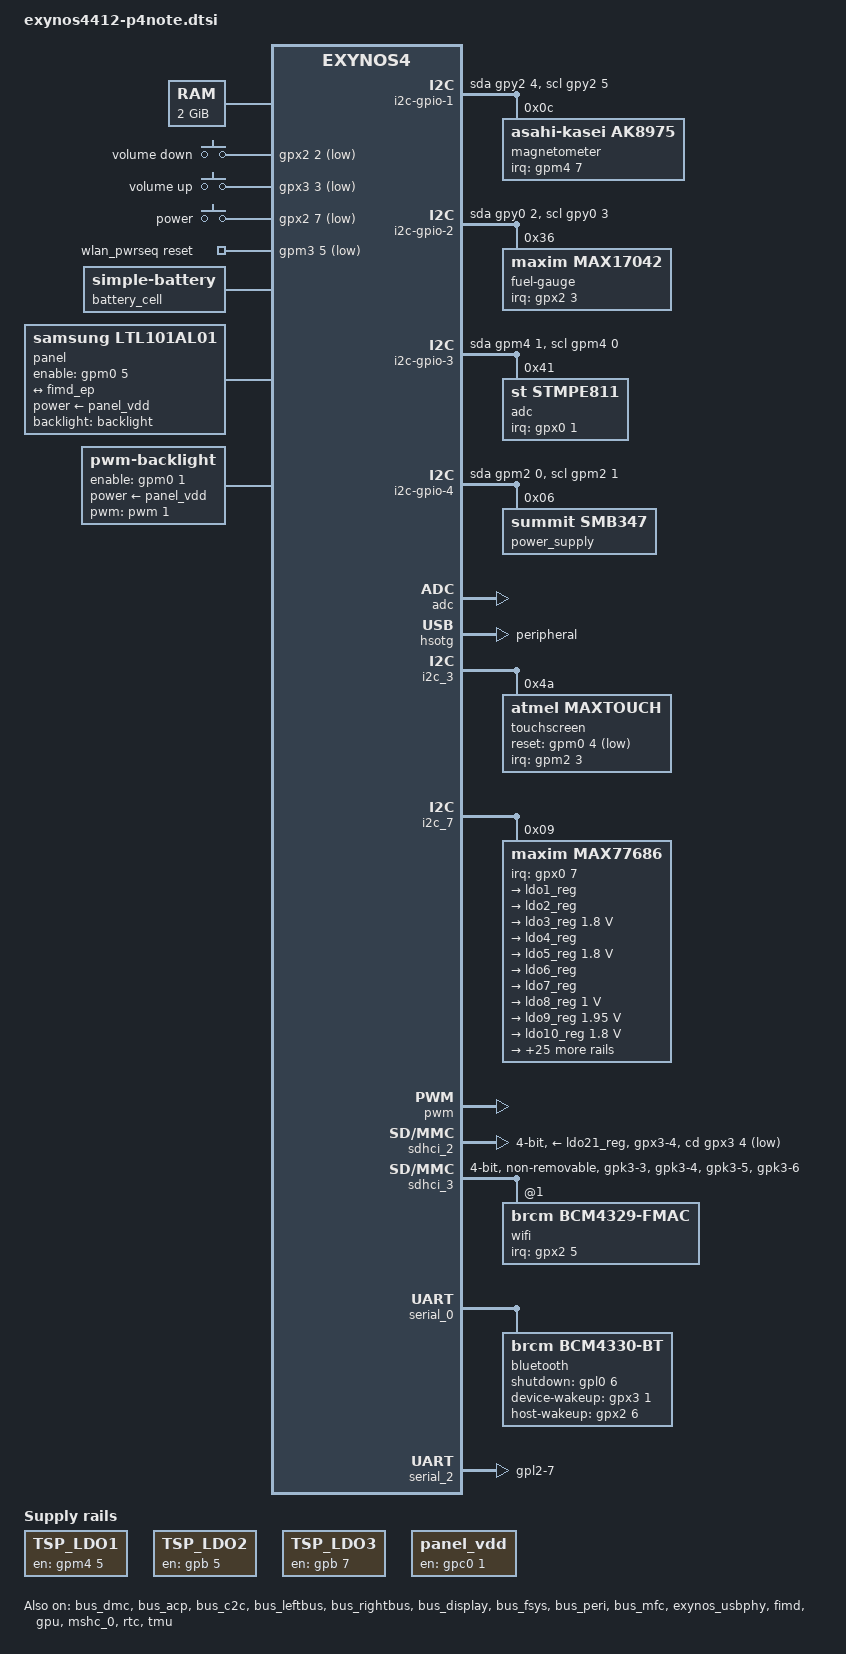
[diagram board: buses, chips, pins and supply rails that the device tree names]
// SPDX-License-Identifier: GPL-2.0
/*
 * Samsung's Exynos4412 based p4note device family base DT.
 * Based on exynos4412-midas.dtsi.
 *
 * Copyright (c) 2013 Samsung Electronics Co., Ltd.
 *		http://www.samsung.com
 */

/dts-v1/;
#include "exynos4412.dtsi"
#include "exynos4412-ppmu-common.dtsi"

#include <dt-bindings/clock/maxim,max77686.h>
#include <dt-bindings/gpio/gpio.h>
#include <dt-bindings/input/linux-event-codes.h>
#include <dt-bindings/interrupt-controller/irq.h>
#include <dt-bindings/power/summit,smb347-charger.h>
#include "exynos-pinctrl.h"

/ {
	compatible = "samsung,p4note", "samsung,exynos4412", "samsung,exynos4";

	memory@40000000 {
		device_type = "memory";
		reg = <0x40000000 0x80000000>;
	};

	chosen {
		stdout-path = &serial_2;
	};

	firmware@204f000 {
		compatible = "samsung,secure-firmware";
		reg = <0x0204f000 0x1000>;
	};

	fixed-rate-clocks {
		xxti {
			compatible = "samsung,clock-xxti";
			clock-frequency = <0>;
		};

		xusbxti {
			compatible = "samsung,clock-xusbxti";
			clock-frequency = <24000000>;
		};
	};

	gpio-keys {
		compatible = "gpio-keys";
		pinctrl-names = "default";
		pinctrl-0 = <&gpio_keys>;

		key-down {
			gpios = <&gpx2 2 GPIO_ACTIVE_LOW>;
			linux,code = <KEY_VOLUMEDOWN>;
			label = "volume down";
			debounce-interval = <10>;
		};

		key-up {
			gpios = <&gpx3 3 GPIO_ACTIVE_LOW>;
			linux,code = <KEY_VOLUMEUP>;
			label = "volume up";
			debounce-interval = <10>;
		};

		key-power {
			gpios = <&gpx2 7 GPIO_ACTIVE_LOW>;
			linux,code = <KEY_POWER>;
			label = "power";
			debounce-interval = <10>;
			wakeup-source;
		};
	};

	voltage-regulator-1 {
		compatible = "regulator-fixed";
		regulator-name = "TSP_LDO1";
		pinctrl-names = "default";
		pinctrl-0 = <&tsp_reg_gpio_1>;
		gpios = <&gpm4 5 GPIO_ACTIVE_HIGH>;
		enable-active-high;
		regulator-always-on;
	};

	voltage-regulator-2 {
		compatible = "regulator-fixed";
		regulator-name = "TSP_LDO2";
		pinctrl-names = "default";
		pinctrl-0 = <&tsp_reg_gpio_2>;
		gpios = <&gpb 5 GPIO_ACTIVE_HIGH>;
		enable-active-high;
		regulator-always-on;
	};

	voltage-regulator-3 {
		compatible = "regulator-fixed";
		regulator-name = "TSP_LDO3";
		pinctrl-names = "default";
		pinctrl-0 = <&tsp_reg_gpio_3>;
		gpios = <&gpb 7 GPIO_ACTIVE_HIGH>;
		startup-delay-us = <20000>;
		enable-active-high;
		regulator-always-on;
	};

	panel_vdd: voltage-regulator-4 {
		compatible = "regulator-fixed";
		regulator-name = "LCD_ENABLE";
		pinctrl-names = "default";
		pinctrl-0 = <&lcd_enable>;
		gpios = <&gpc0 1 GPIO_ACTIVE_HIGH>;
		enable-active-high;
		regulator-boot-on;
	};

	wlan_pwrseq: sdhci3-pwrseq {
		compatible = "mmc-pwrseq-simple";
		reset-gpios = <&gpm3 5 GPIO_ACTIVE_LOW>;
		pinctrl-0 = <&wifi_reset>;
		pinctrl-names = "default";
		clocks = <&max77686 MAX77686_CLK_PMIC>;
		clock-names = "ext_clock";
	};

	battery_cell: battery-cell {
		compatible = "simple-battery";
		device-chemistry = "lithium-ion";
		constant-charge-current-max-microamp = <2200000>;
		precharge-current-microamp = <250000>;
		charge-term-current-microamp = <250000>;
		constant-charge-voltage-max-microvolt = <4200000>;
	};

	i2c-gpio-1 {
		compatible = "i2c-gpio";
		sda-gpios = <&gpy2 4 (GPIO_ACTIVE_HIGH | GPIO_OPEN_DRAIN)>;
		scl-gpios = <&gpy2 5 (GPIO_ACTIVE_HIGH | GPIO_OPEN_DRAIN)>;
		i2c-gpio,delay-us = <2>;
		#address-cells = <1>;
		#size-cells = <0>;

		magnetometer@c {
			compatible = "asahi-kasei,ak8975";
			reg = <0x0c>;
			pinctrl-0 = <&ak8975_irq>;
			pinctrl-names = "default";
			interrupt-parent = <&gpm4>;
			interrupts = <7 IRQ_TYPE_EDGE_RISING>;
		};
	};

	i2c-gpio-2 {
		compatible = "i2c-gpio";
		sda-gpios = <&gpy0 2 (GPIO_ACTIVE_HIGH | GPIO_OPEN_DRAIN)>;
		scl-gpios = <&gpy0 3 (GPIO_ACTIVE_HIGH | GPIO_OPEN_DRAIN)>;
		i2c-gpio,delay-us = <2>;
		#address-cells = <1>;
		#size-cells = <0>;

		fuel-gauge@36 {
			compatible = "maxim,max17042";
			reg = <0x36>;
			pinctrl-0 = <&fuel_alert_irq>;
			pinctrl-names = "default";
			interrupt-parent = <&gpx2>;
			interrupts = <3 IRQ_TYPE_LEVEL_LOW>;
			maxim,rsns-microohm = <10000>;
			maxim,over-heat-temp = <600>;
			maxim,over-volt = <4300>;
		};
	};

	i2c-gpio-3 {
		compatible = "i2c-gpio";
		sda-gpios = <&gpm4 1 (GPIO_ACTIVE_HIGH | GPIO_OPEN_DRAIN)>;
		scl-gpios = <&gpm4 0 (GPIO_ACTIVE_HIGH | GPIO_OPEN_DRAIN)>;
		i2c-gpio,delay-us = <5>;
		#address-cells = <1>;
		#size-cells = <0>;

		adc@41 {
			compatible = "st,stmpe811";
			reg = <0x41>;
			pinctrl-0 = <&stmpe_adc_irq>;
			pinctrl-names = "default";
			interrupt-parent = <&gpx0>;
			interrupts = <1 IRQ_TYPE_LEVEL_LOW>;
			interrupt-controller;
			irq-trigger = <0x1>;
			st,adc-freq = <3>;
			st,mod-12b = <1>;
			st,ref-sel = <0>;
			st,sample-time = <3>;

			stmpe_adc {
				compatible = "st,stmpe-adc";
				#io-channel-cells = <1>;
				st,norequest-mask = <0x2f>;
			};
		};
	};

	i2c-gpio-4 {
		compatible = "i2c-gpio";
		sda-gpios = <&gpm2 0 (GPIO_ACTIVE_HIGH | GPIO_OPEN_DRAIN)>;
		scl-gpios = <&gpm2 1 (GPIO_ACTIVE_HIGH | GPIO_OPEN_DRAIN)>;

		i2c-gpio,delay-us = <2>;
		#address-cells = <1>;
		#size-cells = <0>;

		power_supply: charger@6 {
			compatible = "summit,smb347";
			reg = <0x6>;
			summit,enable-usb-charging;
			summit,enable-charge-control = <SMB3XX_CHG_ENABLE_SW>;
			summit,fast-voltage-threshold-microvolt = <2600000>;
			summit,chip-temperature-threshold-celsius = <130>;
			summit,usb-current-limit-microamp = <1800000>;

			monitored-battery = <&battery_cell>;
		};
	};

	panel {
		compatible = "samsung,ltl101al01";
		pinctrl-0 = <&lvds_nshdn>;
		pinctrl-names = "default";
		power-supply = <&panel_vdd>;
		enable-gpios = <&gpm0 5 GPIO_ACTIVE_HIGH>;
		backlight = <&backlight>;

		port {
			lcd_ep: endpoint {
				remote-endpoint = <&fimd_ep>;
			};
		};
	};

	backlight: backlight {
		compatible = "pwm-backlight";
		pinctrl-0 = <&led_bl_reset>;
		pinctrl-names = "default";
		enable-gpios = <&gpm0 1 GPIO_ACTIVE_HIGH>;
		power-supply = <&panel_vdd>;
		pwms = <&pwm 1 78770 0>;
		brightness-levels = <0 48 128 255>;
		num-interpolated-steps = <8>;
		default-brightness-level = <12>;
	};
};

&adc {
	vdd-supply = <&ldo3_reg>;
	/* not verified */
	status = "okay";
};

&bus_dmc {
	devfreq-events = <&ppmu_dmc0_3>, <&ppmu_dmc1_3>;
	vdd-supply = <&buck1_reg>;
	status = "okay";
};

&bus_acp {
	devfreq = <&bus_dmc>;
	status = "okay";
};

&bus_c2c {
	devfreq = <&bus_dmc>;
	status = "okay";
};

&bus_leftbus {
	devfreq-events = <&ppmu_leftbus_3>, <&ppmu_rightbus_3>;
	vdd-supply = <&buck3_reg>;
	status = "okay";
};

&bus_rightbus {
	devfreq = <&bus_leftbus>;
	status = "okay";
};

&bus_display {
	devfreq = <&bus_leftbus>;
	status = "okay";
};

&bus_fsys {
	devfreq = <&bus_leftbus>;
	status = "okay";
};

&bus_peri {
	devfreq = <&bus_leftbus>;
	status = "okay";
};

&bus_mfc {
	devfreq = <&bus_leftbus>;
	status = "okay";
};

&cpu0 {
	cpu0-supply = <&buck2_reg>;
};

&cpu_thermal {
	cooling-maps {
		map0 {
			/* Corresponds to 800MHz at freq_table */
			cooling-device = <&cpu0 7 7>, <&cpu1 7 7>,
					 <&cpu2 7 7>, <&cpu3 7 7>;
		};
		map1 {
			/* Corresponds to 200MHz at freq_table */
			cooling-device = <&cpu0 13 13>, <&cpu1 13 13>,
					 <&cpu2 13 13>, <&cpu3 13 13>;
		};
	};
};

&exynos_usbphy {
	status = "okay";
};

&fimd {
	pinctrl-0 = <&lcd_clk &lcd_data24>;
	pinctrl-names = "default";
	#address-cells = <1>;
	#size-cells = <0>;
	status = "okay";

	samsung,invert-vclk;

	port@3 {
		reg = <3>;

		fimd_ep: endpoint {
			remote-endpoint = <&lcd_ep>;
		};
	};
};

&gpu {
	mali-supply = <&buck4_reg>;
	status = "okay";
};

&hsotg {
	vusb_a-supply = <&ldo12_reg>;
	dr_mode = "peripheral";
	status = "okay";
};

&i2c_3 {
	samsung,i2c-sda-delay = <100>;
	samsung,i2c-slave-addr = <0x10>;
	samsung,i2c-max-bus-freq = <400000>;
	pinctrl-0 = <&i2c3_bus>;
	pinctrl-names = "default";
	status = "okay";

	touchscreen@4a {
		compatible = "atmel,maxtouch";
		reg = <0x4a>;
		pinctrl-0 = <&tsp_rst &tsp_irq>;
		pinctrl-names = "default";
		interrupt-parent = <&gpm2>;
		interrupts = <3 IRQ_TYPE_LEVEL_LOW>;
		reset-gpios = <&gpm0 4 GPIO_ACTIVE_LOW>;
	};
};

&i2c_7 {
	samsung,i2c-sda-delay = <100>;
	samsung,i2c-slave-addr = <0x10>;
	samsung,i2c-max-bus-freq = <400000>;
	pinctrl-0 = <&i2c7_bus>;
	pinctrl-names = "default";
	status = "okay";

	max77686: pmic@9 {
		compatible = "maxim,max77686";
		interrupt-parent = <&gpx0>;
		interrupts = <7 IRQ_TYPE_LEVEL_LOW>;
		pinctrl-0 = <&max77686_irq>;
		pinctrl-names = "default";
		wakeup-source;
		reg = <0x09>;
		#clock-cells = <1>;

		voltage-regulators {
			ldo1_reg: LDO1 {
				regulator-name = "ldo1";
				regulator-always-on;
			};

			ldo2_reg: LDO2 {
				regulator-name = "ldo2";
				regulator-always-on;
			};

			/* WM8994 audio */
			ldo3_reg: LDO3 {
				regulator-name = "VCC_1.8V_AP";
				regulator-min-microvolt = <1800000>;
				regulator-max-microvolt = <1800000>;
				regulator-always-on;
				regulator-boot-on;

				regulator-state-mem {
					regulator-on-in-suspend;
				};
			};

			ldo4_reg: LDO4 {
				regulator-name = "ldo4";
				regulator-always-on;
			};

			ldo5_reg: LDO5 {
				regulator-name = "VCC_1.8V_IO";
				regulator-min-microvolt = <1800000>;
				regulator-max-microvolt = <1800000>;

				regulator-state-mem {
					regulator-off-in-suspend;
				};
			};

			ldo6_reg: LDO6 {
				regulator-name = "ldo6";
				regulator-always-on;
			};

			ldo7_reg: LDO7 {
				regulator-name = "ldo7";
				regulator-always-on;
			};

			/* CSI IP block */
			ldo8_reg: LDO8 {
				regulator-name = "VMIPI_1.0V";
				regulator-min-microvolt = <1000000>;
				regulator-max-microvolt = <1000000>;
				regulator-always-on;
				regulator-boot-on;

				regulator-state-mem {
					regulator-on-in-suspend;
				};
			};

			/* IR LED on/off */
			ldo9_reg: LDO9 {
				regulator-name = "VLED_IC_1.9V";
				regulator-min-microvolt = <1950000>;
				regulator-max-microvolt = <1950000>;

				regulator-state-mem {
					regulator-off-in-suspend;
				};
			};

			/* CSI IP block */
			ldo10_reg: LDO10 {
				regulator-name = "VMIPI_1.8V";
				regulator-min-microvolt = <1800000>;
				regulator-max-microvolt = <1800000>;
				regulator-always-on;
				regulator-boot-on;

				regulator-state-mem {
					regulator-on-in-suspend;
				};
			};

			ldo11_reg: LDO11 {
				regulator-name = "VABB1_1.9V";
				regulator-min-microvolt = <1950000>;
				regulator-max-microvolt = <1950000>;
				regulator-always-on;
				regulator-boot-on;

				regulator-state-mem {
					regulator-off-in-suspend;
				};
			};

			/* USB OTG */
			ldo12_reg: LDO12 {
				regulator-name = "VUOTG_3.0V";
				regulator-min-microvolt = <3000000>;
				regulator-max-microvolt = <3000000>;
				regulator-always-on;
				regulator-boot-on;

				regulator-state-mem {
					regulator-on-in-suspend;
				};
			};

			/* not connected */
			ldo13_reg: LDO13 {
				regulator-name = "ldo13";
			};

			ldo14_reg: LDO14 {
				regulator-name = "VABB2_1.9V";
				regulator-min-microvolt = <1950000>;
				regulator-max-microvolt = <1950000>;
				regulator-always-on;
				regulator-boot-on;

				regulator-state-mem {
					regulator-off-in-suspend;
				};
			};

			ldo15_reg: LDO15 {
				regulator-name = "ldo15";
				regulator-always-on;
			};

			ldo16_reg: LDO16 {
				regulator-name = "ldo16";
				regulator-always-on;
			};

			/* not connected */
			ldo17_reg: LDO17 {
				regulator-name = "ldo17";
			};

			/* Camera ISX012 */
			ldo18_reg: LDO18 {
				regulator-name = "CAM_IO_1.8V";
				regulator-min-microvolt = <1800000>;
				regulator-max-microvolt = <1800000>;

				regulator-state-mem {
					regulator-off-in-suspend;
				};
			};

			/* Camera S5K6A3 */
			ldo19_reg: LDO19 {
				regulator-name = "VT_CORE_1.8V";
				regulator-min-microvolt = <1800000>;
				regulator-max-microvolt = <1800000>;

				regulator-state-mem {
					regulator-off-in-suspend;
				};
			};

			/* not connected */
			ldo20_reg: LDO20 {
				regulator-name = "ldo20";
			};

			/* MMC2 */
			ldo21_reg: LDO21 {
				regulator-name = "VTF_2.8V";
				regulator-min-microvolt = <2800000>;
				regulator-max-microvolt = <2800000>;
				maxim,ena-gpios = <&gpy2 0 GPIO_ACTIVE_HIGH>;
			};

			/* not connected */
			ldo22_reg: LDO22 {
				regulator-name = "ldo22";
			};

			/* ADC */
			ldo23_reg: LDO23 {
				regulator-name = "VDD_ADC_3.3V";
				regulator-min-microvolt = <3300000>;
				regulator-max-microvolt = <3300000>;
				regulator-always-on;
				regulator-boot-on;

				regulator-state-mem {
					regulator-off-in-suspend;
				};
			};

			/* Camera S5K6A3 */
			ldo24_reg: LDO24 {
				regulator-name = "CAM_A2.8V";
				regulator-min-microvolt = <2800000>;
				regulator-max-microvolt = <2800000>;

				regulator-state-mem {
					regulator-off-in-suspend;
				};
			};

			ldo25_reg: LDO25 {
				regulator-name = "VLED_3.3V";
				regulator-min-microvolt = <3300000>;
				regulator-max-microvolt = <3300000>;

				regulator-state-mem {
					regulator-off-in-suspend;
				};
			};

			/* Camera ISX012 */
			ldo26_reg: LDO26 {
				regulator-name = "3MP_AF_2.8V";
				regulator-min-microvolt = <2800000>;
				regulator-max-microvolt = <2800000>;

				regulator-state-mem {
					regulator-off-in-suspend;
				};
			};

			buck1_reg: BUCK1 {
				regulator-name = "VDD_MIF";
				regulator-min-microvolt = <850000>;
				regulator-max-microvolt = <1050000>;
				regulator-always-on;
				regulator-boot-on;
			};

			buck2_reg: BUCK2 {
				regulator-name = "VDD_ARM";
				regulator-min-microvolt = <850000>;
				regulator-max-microvolt = <1500000>;
				regulator-always-on;
				regulator-boot-on;
			};

			buck3_reg: BUCK3 {
				regulator-name = "VDD_INT";
				regulator-min-microvolt = <850000>;
				regulator-max-microvolt = <1100000>;
				regulator-always-on;
				regulator-boot-on;
			};

			buck4_reg: BUCK4 {
				regulator-name = "VDD_G3D";
				regulator-min-microvolt = <850000>;
				regulator-max-microvolt = <1075000>;
				regulator-boot-on;
			};

			buck5_reg: BUCK5 {
				regulator-name = "buck5";
				regulator-always-on;
			};

			buck6_reg: BUCK6 {
				regulator-name = "buck6";
				regulator-always-on;
			};

			buck7_reg: BUCK7 {
				regulator-name = "buck7";
				regulator-always-on;
			};

			/* not connected */
			buck8_reg: BUCK8 {
				regulator-name = "buck8";
			};

			buck9_reg: BUCK9 {
				regulator-name = "3MP_CORE_1.2V";
				regulator-min-microvolt = <1200000>;
				regulator-max-microvolt = <1200000>;

				regulator-state-mem {
					regulator-off-in-suspend;
				};
			};
		};
	};
};

&mshc_0 {
	broken-cd;
	non-removable;
	card-detect-delay = <200>;
	clock-frequency = <400000000>;
	samsung,dw-mshc-ciu-div = <0>;
	samsung,dw-mshc-sdr-timing = <2 3>;
	samsung,dw-mshc-ddr-timing = <1 2>;
	pinctrl-0 = <&sd4_clk &sd4_cmd &sd4_bus4 &sd4_bus8>;
	pinctrl-names = "default";
	bus-width = <4>;
	cap-mmc-highspeed;
	cap-sd-highspeed;
	status = "okay";
};

&pinctrl_0 {
	pinctrl-names = "default";
	pinctrl-0 = <&sleep0>;

	tsp_reg_gpio_2: tsp-reg-gpio-2-pins {
		samsung,pins = "gpb-5";
		samsung,pin-function = <EXYNOS_PIN_FUNC_OUTPUT>;
		samsung,pin-pud = <EXYNOS_PIN_PULL_NONE>;
	};

	tsp_reg_gpio_3: tsp-reg-gpio-3-pins {
		samsung,pins = "gpb-7";
		samsung,pin-function = <EXYNOS_PIN_FUNC_OUTPUT>;
		samsung,pin-pud = <EXYNOS_PIN_PULL_NONE>;
	};

	lcd_enable: lcd-enable-pins {
		samsung,pins = "gpc0-1";
		samsung,pin-function = <EXYNOS_PIN_FUNC_OUTPUT>;
		samsung,pin-pud = <EXYNOS_PIN_PULL_NONE>;
	};

	sleep0: sleep-state {
		PIN_SLP(gpa0-0, INPUT, NONE);
		PIN_SLP(gpa0-1, OUT0, NONE);
		PIN_SLP(gpa0-2, INPUT, NONE);
		PIN_SLP(gpa0-3, INPUT, UP);
		PIN_SLP(gpa0-4, INPUT, NONE);
		PIN_SLP(gpa0-5, INPUT, DOWN);
		PIN_SLP(gpa0-6, INPUT, DOWN);
		PIN_SLP(gpa0-7, INPUT, UP);

		PIN_SLP(gpa1-0, INPUT, DOWN);
		PIN_SLP(gpa1-1, INPUT, DOWN);
		PIN_SLP(gpa1-2, INPUT, DOWN);
		PIN_SLP(gpa1-3, INPUT, DOWN);
		PIN_SLP(gpa1-4, INPUT, DOWN);
		PIN_SLP(gpa1-5, INPUT, DOWN);

		PIN_SLP(gpb-0, INPUT, NONE);
		PIN_SLP(gpb-1, INPUT, NONE);
		PIN_SLP(gpb-2, INPUT, NONE);
		PIN_SLP(gpb-3, INPUT, NONE);
		PIN_SLP(gpb-4, INPUT, DOWN);
		PIN_SLP(gpb-5, INPUT, DOWN);
		PIN_SLP(gpb-6, INPUT, DOWN);
		PIN_SLP(gpb-7, INPUT, DOWN);

		PIN_SLP(gpc0-0, INPUT, DOWN);
		PIN_SLP(gpc0-1, INPUT, DOWN);
		PIN_SLP(gpc0-2, INPUT, DOWN);
		PIN_SLP(gpc0-3, INPUT, DOWN);
		PIN_SLP(gpc0-4, INPUT, DOWN);

		PIN_SLP(gpc1-0, INPUT, UP);
		PIN_SLP(gpc1-1, PREV, NONE);
		PIN_SLP(gpc1-2, INPUT, UP);
		PIN_SLP(gpc1-3, INPUT, UP);
		PIN_SLP(gpc1-4, INPUT, UP);

		PIN_SLP(gpd0-0, INPUT, DOWN);
		PIN_SLP(gpd0-1, OUT0, NONE);
		PIN_SLP(gpd0-2, INPUT, NONE);
		PIN_SLP(gpd0-3, INPUT, NONE);

		PIN_SLP(gpd1-0, INPUT, DOWN);
		PIN_SLP(gpd1-1, INPUT, DOWN);
		PIN_SLP(gpd1-2, INPUT, NONE);
		PIN_SLP(gpd1-3, INPUT, NONE);

		PIN_SLP(gpf0-0, OUT0, NONE);
		PIN_SLP(gpf0-1, OUT0, NONE);
		PIN_SLP(gpf0-2, OUT0, NONE);
		PIN_SLP(gpf0-3, OUT0, NONE);
		PIN_SLP(gpf0-4, OUT0, NONE);
		PIN_SLP(gpf0-5, OUT0, NONE);
		PIN_SLP(gpf0-6, OUT0, NONE);
		PIN_SLP(gpf0-7, OUT0, NONE);

		PIN_SLP(gpf1-0, OUT0, NONE);
		PIN_SLP(gpf1-1, OUT0, NONE);
		PIN_SLP(gpf1-2, OUT0, NONE);
		PIN_SLP(gpf1-3, OUT0, NONE);
		PIN_SLP(gpf1-4, OUT0, NONE);
		PIN_SLP(gpf1-5, OUT0, NONE);
		PIN_SLP(gpf1-6, OUT0, NONE);
		PIN_SLP(gpf1-7, OUT0, NONE);

		PIN_SLP(gpf2-0, OUT0, NONE);
		PIN_SLP(gpf2-1, OUT0, NONE);
		PIN_SLP(gpf2-2, OUT0, NONE);
		PIN_SLP(gpf2-3, OUT0, NONE);
		PIN_SLP(gpf2-4, OUT0, NONE);
		PIN_SLP(gpf2-5, OUT0, NONE);
		PIN_SLP(gpf2-6, OUT0, NONE);
		PIN_SLP(gpf2-7, OUT0, NONE);

		PIN_SLP(gpf3-0, OUT0, NONE);
		PIN_SLP(gpf3-1, OUT0, NONE);
		PIN_SLP(gpf3-2, OUT0, NONE);
		PIN_SLP(gpf3-3, OUT0, NONE);
		PIN_SLP(gpf3-4, OUT0, NONE);
		PIN_SLP(gpf3-5, OUT0, NONE);

		PIN_SLP(gpj0-0, INPUT, DOWN);
		PIN_SLP(gpj0-1, INPUT, DOWN);
		PIN_SLP(gpj0-2, INPUT, DOWN);
		PIN_SLP(gpj0-3, PREV, NONE);
		PIN_SLP(gpj0-4, PREV, NONE);
		PIN_SLP(gpj0-5, OUT0, NONE);
		PIN_SLP(gpj0-6, OUT0, NONE);
		PIN_SLP(gpj0-7, OUT0, NONE);

		PIN_SLP(gpj1-0, OUT0, NONE);
		PIN_SLP(gpj1-1, INPUT, DOWN);
		PIN_SLP(gpj1-2, PREV, NONE);
		PIN_SLP(gpj1-3, OUT0, NONE);
	};
};

&pinctrl_1 {
	pinctrl-names = "default";
	pinctrl-0 = <&sleep1>;

	sd3_wifi: sd3-wifi-pins {
		samsung,pins = "gpk3-3", "gpk3-4", "gpk3-5", "gpk3-6";
		samsung,pin-function = <EXYNOS_PIN_FUNC_2>;
		samsung,pin-pud = <EXYNOS_PIN_PULL_NONE>;
	};

	bt_shutdown: bt-shutdown-pins {
		samsung,pins = "gpl0-6";
		samsung,pin-function = <EXYNOS_PIN_FUNC_OUTPUT>;
		samsung,pin-pud = <EXYNOS_PIN_PULL_NONE>;
	};

	uart_sel: uart-sel-pins {
		samsung,pins = "gpl2-7";
		samsung,pin-function = <EXYNOS_PIN_FUNC_OUTPUT>;
		samsung,pin-pud = <EXYNOS_PIN_PULL_NONE>;
		samsung,pin-val = <1>;
		/* 0 = CP, 1 = AP (serial output) */
	};

	led_bl_reset: led-bl-reset-pins {
		samsung,pins = "gpm0-1";
		samsung,pin-function = <EXYNOS_PIN_FUNC_OUTPUT>;
		samsung,pin-pud = <EXYNOS_PIN_PULL_NONE>;
	};

	tsp_rst: tsp-rst-pins {
		samsung,pins = "gpm0-4";
		samsung,pin-function = <EXYNOS_PIN_FUNC_OUTPUT>;
		samsung,pin-pud = <EXYNOS_PIN_PULL_NONE>;
	};

	lvds_nshdn: lvds-nshdn-pins {
		samsung,pins = "gpm0-5";
		samsung,pin-function = <EXYNOS_PIN_FUNC_OUTPUT>;
		samsung,pin-pud = <EXYNOS_PIN_PULL_NONE>;
	};

	tsp_irq: tsp-irq-pins {
		samsung,pins = "gpm2-3";
		samsung,pin-function = <EXYNOS_PIN_FUNC_F>;
		samsung,pin-pud = <EXYNOS_PIN_PULL_NONE>;
	};

	wifi_reset: wifi-reset-pins {
		samsung,pins = "gpm3-5";
		samsung,pin-function = <EXYNOS_PIN_FUNC_OUTPUT>;
		samsung,pin-pud = <EXYNOS_PIN_PULL_NONE>;
	};

	tsp_reg_gpio_1: tsp-reg-gpio-1-pins {
		samsung,pins = "gpm4-5";
		samsung,pin-function = <EXYNOS_PIN_FUNC_OUTPUT>;
		samsung,pin-pud = <EXYNOS_PIN_PULL_NONE>;
	};

	ak8975_irq: ak8975-irq-pins {
		samsung,pins = "gpm4-7";
		samsung,pin-function = <EXYNOS_PIN_FUNC_F>;
		samsung,pin-pud = <EXYNOS_PIN_PULL_DOWN>;
	};

	stmpe_adc_irq: stmpe-adc-irq-pins {
		samsung,pins = "gpx0-1";
		samsung,pin-function = <EXYNOS_PIN_FUNC_INPUT>;
		samsung,pin-pud = <EXYNOS_PIN_PULL_NONE>;
	};

	max77686_irq: max77686-irq-pins {
		samsung,pins = "gpx0-7";
		samsung,pin-pud = <EXYNOS_PIN_PULL_NONE>;
	};

	gpio_keys: gpio-keys-pins {
		samsung,pins = "gpx2-2", "gpx2-7", "gpx3-3";
		samsung,pin-pud = <EXYNOS_PIN_PULL_NONE>;
	};

	fuel_alert_irq: fuel-alert-irq-pins {
		samsung,pins = "gpx2-3";
		samsung,pin-function = <EXYNOS_PIN_FUNC_INPUT>;
		samsung,pin-pud = <EXYNOS_PIN_PULL_NONE>;
	};

	wifi_host_wake: wifi-host-wake-pins {
		samsung,pins = "gpx2-5";
		samsung,pin-function = <EXYNOS_PIN_FUNC_F>;
		samsung,pin-pud = <EXYNOS_PIN_PULL_DOWN>;
	};

	bt_host_wakeup: bt-host-wakeup-pins {
		samsung,pins = "gpx2-6";
		samsung,pin-function = <EXYNOS_PIN_FUNC_INPUT>;
		samsung,pin-pud = <EXYNOS_PIN_PULL_NONE>;
	};

	bt_device_wakeup: bt-device-wakeup-pins {
		samsung,pins = "gpx3-1";
		samsung,pin-function = <EXYNOS_PIN_FUNC_OUTPUT>;
		samsung,pin-pud = <EXYNOS_PIN_PULL_NONE>;
	};

	sdhci2_cd: sdhci2-cd-pins {
		samsung,pins = "gpx3-4";
		samsung,pin-pud = <EXYNOS_PIN_PULL_NONE>;
	};

	sleep1: sleep-state {
		PIN_SLP(gpk0-0, PREV, NONE);
		PIN_SLP(gpk0-1, PREV, NONE);
		PIN_SLP(gpk0-2, PREV, NONE);
		PIN_SLP(gpk0-3, PREV, NONE);
		PIN_SLP(gpk0-4, PREV, NONE);
		PIN_SLP(gpk0-5, PREV, NONE);
		PIN_SLP(gpk0-6, PREV, NONE);

		PIN_SLP(gpk1-0, INPUT, DOWN);
		PIN_SLP(gpk1-1, INPUT, DOWN);
		PIN_SLP(gpk1-2, INPUT, DOWN);
		PIN_SLP(gpk1-3, PREV, NONE);
		PIN_SLP(gpk1-4, PREV, NONE);
		PIN_SLP(gpk1-5, PREV, NONE);
		PIN_SLP(gpk1-6, PREV, NONE);

		PIN_SLP(gpk2-0, INPUT, DOWN);
		PIN_SLP(gpk2-1, INPUT, DOWN);
		PIN_SLP(gpk2-2, INPUT, DOWN);
		PIN_SLP(gpk2-3, INPUT, DOWN);
		PIN_SLP(gpk2-4, INPUT, DOWN);
		PIN_SLP(gpk2-5, INPUT, DOWN);
		PIN_SLP(gpk2-6, INPUT, DOWN);

		PIN_SLP(gpk3-0, OUT0, NONE);
		PIN_SLP(gpk3-1, INPUT, NONE);
		PIN_SLP(gpk3-2, INPUT, DOWN);
		PIN_SLP(gpk3-3, INPUT, NONE);
		PIN_SLP(gpk3-4, INPUT, NONE);
		PIN_SLP(gpk3-5, INPUT, NONE);
		PIN_SLP(gpk3-6, INPUT, NONE);

		PIN_SLP(gpl0-0, OUT0, NONE);
		PIN_SLP(gpl0-1, INPUT, NONE);
		PIN_SLP(gpl0-2, INPUT, NONE);
		PIN_SLP(gpl0-3, INPUT, DOWN);
		PIN_SLP(gpl0-4, PREV, NONE);
		PIN_SLP(gpl0-6, PREV, NONE);

		PIN_SLP(gpl1-0, OUT0, NONE);
		PIN_SLP(gpl1-1, OUT0, NONE);

		PIN_SLP(gpl2-0, INPUT, DOWN);
		PIN_SLP(gpl2-1, INPUT, DOWN);
		PIN_SLP(gpl2-2, INPUT, DOWN);
		PIN_SLP(gpl2-3, INPUT, DOWN);
		PIN_SLP(gpl2-4, OUT0, NONE);
		PIN_SLP(gpl2-5, INPUT, DOWN);
		PIN_SLP(gpl2-6, PREV, NONE);
		PIN_SLP(gpl2-7, PREV, NONE);

		PIN_SLP(gpm0-0, PREV, NONE);
		PIN_SLP(gpm0-1, OUT0, NONE);
		PIN_SLP(gpm0-2, INPUT, DOWN);
		PIN_SLP(gpm0-3, INPUT, NONE);
		PIN_SLP(gpm0-4, OUT0, NONE);
		PIN_SLP(gpm0-5, OUT0, NONE);
		PIN_SLP(gpm0-6, INPUT, DOWN);
		PIN_SLP(gpm0-7, OUT0, NONE);

		PIN_SLP(gpm1-0, INPUT, NONE);
		PIN_SLP(gpm1-1, INPUT, NONE);
		PIN_SLP(gpm1-2, INPUT, NONE);
		PIN_SLP(gpm1-3, INPUT, NONE);
		PIN_SLP(gpm1-4, INPUT, NONE);
		PIN_SLP(gpm1-5, INPUT, NONE);
		PIN_SLP(gpm1-6, INPUT, DOWN);

		PIN_SLP(gpm2-0, INPUT, NONE);
		PIN_SLP(gpm2-1, INPUT, NONE);
		PIN_SLP(gpm2-2, OUT0, NONE);
		PIN_SLP(gpm2-3, OUT0, DOWN);
		PIN_SLP(gpm2-4, INPUT, DOWN);

		PIN_SLP(gpm3-0, PREV, NONE);
		PIN_SLP(gpm3-1, PREV, NONE);
		PIN_SLP(gpm3-2, PREV, NONE);
		PIN_SLP(gpm3-3, OUT1, NONE);
		PIN_SLP(gpm3-4, OUT0, DOWN);
		PIN_SLP(gpm3-5, PREV, NONE);
		PIN_SLP(gpm3-6, PREV, NONE);
		PIN_SLP(gpm3-7, OUT0, NONE);

		PIN_SLP(gpm4-0, INPUT, NONE);
		PIN_SLP(gpm4-1, INPUT, NONE);
		PIN_SLP(gpm4-2, INPUT, DOWN);
		PIN_SLP(gpm4-3, INPUT, DOWN);
		PIN_SLP(gpm4-4, PREV, NONE);
		PIN_SLP(gpm4-5, OUT0, NONE);
		PIN_SLP(gpm4-6, OUT0, NONE);
		PIN_SLP(gpm4-7, INPUT, DOWN);

		PIN_SLP(gpy0-0, INPUT, DOWN);
		PIN_SLP(gpy0-1, INPUT, DOWN);
		PIN_SLP(gpy0-2, INPUT, NONE);
		PIN_SLP(gpy0-3, INPUT, NONE);
		PIN_SLP(gpy0-4, INPUT, NONE);
		PIN_SLP(gpy0-5, INPUT, NONE);

		PIN_SLP(gpy1-0, INPUT, DOWN);
		PIN_SLP(gpy1-1, INPUT, DOWN);
		PIN_SLP(gpy1-2, INPUT, DOWN);
		PIN_SLP(gpy1-3, INPUT, DOWN);

		PIN_SLP(gpy2-0, PREV, NONE);
		PIN_SLP(gpy2-1, INPUT, DOWN);
		PIN_SLP(gpy2-2, INPUT, NONE);
		PIN_SLP(gpy2-3, INPUT, NONE);
		PIN_SLP(gpy2-4, INPUT, NONE);
		PIN_SLP(gpy2-5, INPUT, NONE);

		PIN_SLP(gpy3-0, INPUT, DOWN);
		PIN_SLP(gpy3-1, INPUT, DOWN);
		PIN_SLP(gpy3-2, INPUT, DOWN);
		PIN_SLP(gpy3-3, INPUT, DOWN);
		PIN_SLP(gpy3-4, INPUT, DOWN);
		PIN_SLP(gpy3-5, INPUT, DOWN);
		PIN_SLP(gpy3-6, INPUT, DOWN);
		PIN_SLP(gpy3-7, INPUT, DOWN);

		PIN_SLP(gpy4-0, INPUT, DOWN);
		PIN_SLP(gpy4-1, INPUT, DOWN);
		PIN_SLP(gpy4-2, INPUT, DOWN);
		PIN_SLP(gpy4-3, INPUT, DOWN);
		PIN_SLP(gpy4-4, INPUT, DOWN);
		PIN_SLP(gpy4-5, INPUT, DOWN);
		PIN_SLP(gpy4-6, INPUT, DOWN);
		PIN_SLP(gpy4-7, INPUT, DOWN);

		PIN_SLP(gpy5-0, INPUT, DOWN);
		PIN_SLP(gpy5-1, INPUT, DOWN);
		PIN_SLP(gpy5-2, INPUT, DOWN);
		PIN_SLP(gpy5-3, INPUT, DOWN);
		PIN_SLP(gpy5-4, INPUT, DOWN);
		PIN_SLP(gpy5-5, INPUT, DOWN);
		PIN_SLP(gpy5-6, INPUT, DOWN);
		PIN_SLP(gpy5-7, INPUT, DOWN);

		PIN_SLP(gpy6-0, INPUT, DOWN);
		PIN_SLP(gpy6-1, INPUT, DOWN);
		PIN_SLP(gpy6-2, INPUT, DOWN);
		PIN_SLP(gpy6-3, INPUT, DOWN);
		PIN_SLP(gpy6-4, INPUT, DOWN);
		PIN_SLP(gpy6-5, INPUT, DOWN);
		PIN_SLP(gpy6-6, INPUT, DOWN);
		PIN_SLP(gpy6-7, INPUT, DOWN);
	};
};

&pinctrl_2 {
	pinctrl-names = "default";
	pinctrl-0 = <&sleep2>;

	sleep2: sleep-state {
		PIN_SLP(gpz-0, INPUT, DOWN);
		PIN_SLP(gpz-1, INPUT, DOWN);
		PIN_SLP(gpz-2, INPUT, DOWN);
		PIN_SLP(gpz-3, INPUT, DOWN);
		PIN_SLP(gpz-4, INPUT, DOWN);
		PIN_SLP(gpz-5, INPUT, DOWN);
		PIN_SLP(gpz-6, INPUT, DOWN);
	};
};

&pinctrl_3 {
	pinctrl-names = "default";
	pinctrl-0 = <&sleep3>;

	sleep3: sleep-state {
		PIN_SLP(gpv0-0, INPUT, DOWN);
		PIN_SLP(gpv0-1, INPUT, DOWN);
		PIN_SLP(gpv0-2, INPUT, DOWN);
		PIN_SLP(gpv0-3, INPUT, DOWN);
		PIN_SLP(gpv0-4, INPUT, DOWN);
		PIN_SLP(gpv0-5, INPUT, DOWN);
		PIN_SLP(gpv0-6, INPUT, DOWN);
		PIN_SLP(gpv0-7, INPUT, DOWN);

		PIN_SLP(gpv1-0, INPUT, DOWN);
		PIN_SLP(gpv1-1, INPUT, DOWN);
		PIN_SLP(gpv1-2, INPUT, DOWN);
		PIN_SLP(gpv1-3, INPUT, DOWN);
		PIN_SLP(gpv1-4, INPUT, DOWN);
		PIN_SLP(gpv1-5, INPUT, DOWN);
		PIN_SLP(gpv1-6, INPUT, DOWN);
		PIN_SLP(gpv1-7, INPUT, DOWN);

		PIN_SLP(gpv2-0, INPUT, DOWN);
		PIN_SLP(gpv2-1, INPUT, DOWN);
		PIN_SLP(gpv2-2, INPUT, DOWN);
		PIN_SLP(gpv2-3, INPUT, DOWN);
		PIN_SLP(gpv2-4, INPUT, DOWN);
		PIN_SLP(gpv2-5, INPUT, DOWN);
		PIN_SLP(gpv2-6, INPUT, DOWN);
		PIN_SLP(gpv2-7, INPUT, DOWN);

		PIN_SLP(gpv3-0, INPUT, DOWN);
		PIN_SLP(gpv3-1, INPUT, DOWN);
		PIN_SLP(gpv3-2, INPUT, DOWN);
		PIN_SLP(gpv3-3, INPUT, DOWN);
		PIN_SLP(gpv3-4, INPUT, DOWN);
		PIN_SLP(gpv3-5, INPUT, DOWN);
		PIN_SLP(gpv3-6, INPUT, DOWN);
		PIN_SLP(gpv3-7, INPUT, DOWN);

		PIN_SLP(gpv4-0, INPUT, DOWN);
		PIN_SLP(gpv4-1, INPUT, DOWN);
	};
};

&pmu_system_controller {
	assigned-clocks = <&pmu_system_controller 0>;
	assigned-clock-parents = <&clock CLK_XUSBXTI>;
};

&pwm {
	pinctrl-0 = <&pwm1_out>;
	pinctrl-names = "default";
	samsung,pwm-outputs = <1>;
	status = "okay";
};

&rtc {
	clocks = <&clock CLK_RTC>, <&max77686 MAX77686_CLK_AP>;
	clock-names = "rtc", "rtc_src";
	status = "okay";
};

&sdhci_2 {
	bus-width = <4>;
	cd-gpios = <&gpx3 4 GPIO_ACTIVE_LOW>;
	pinctrl-0 = <&sd2_clk &sd2_cmd &sd2_bus4 &sdhci2_cd>;
	pinctrl-names = "default";
	vmmc-supply = <&ldo21_reg>;
	status = "okay";
};

&sdhci_3 {
	#address-cells = <1>;
	#size-cells = <0>;
	non-removable;
	bus-width = <4>;
	mmc-pwrseq = <&wlan_pwrseq>;

	pinctrl-names = "default";
	pinctrl-0 = <&sd3_clk &sd3_cmd &sd3_wifi>;
	status = "okay";

	wifi@1 {
		compatible = "brcm,bcm4329-fmac";
		reg = <0x1>;
		pinctrl-names = "default";
		pinctrl-0 = <&wifi_host_wake>;
		interrupt-parent = <&gpx2>;
		interrupts = <5 IRQ_TYPE_LEVEL_HIGH>;
		interrupt-names = "host-wake";
	};
};

&serial_0 {
	pinctrl-0 = <&uart0_data &uart0_fctl>;
	pinctrl-names = "default";
	status = "okay";

	bluetooth {
		compatible = "brcm,bcm4330-bt";
		pinctrl-0 = <&bt_shutdown &bt_device_wakeup &bt_host_wakeup>;
		pinctrl-names = "default";

		max-speed = <2000000>;
		shutdown-gpios = <&gpl0 6 GPIO_ACTIVE_HIGH>;
		device-wakeup-gpios = <&gpx3 1 GPIO_ACTIVE_HIGH>;
		host-wakeup-gpios = <&gpx2 6 GPIO_ACTIVE_HIGH>;
		clocks = <&max77686 MAX77686_CLK_PMIC>;
		clock-names = "lpo";
	};
};

&serial_2 {
	pinctrl-0 = <&uart_sel>;
	pinctrl-names = "default";
	status = "okay";
};

&tmu {
	status = "okay";
};
